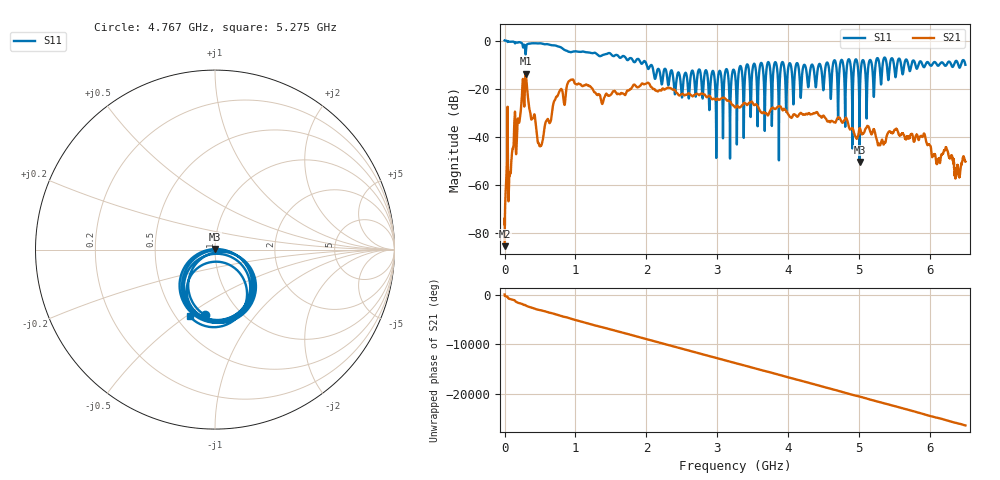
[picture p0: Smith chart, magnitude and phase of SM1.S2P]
!Keysight Technologies,E5063A,MY54503115,A.05.08
!Date: Sat Feb 03 20:37:37 2024
!Data & Calibration Information:
!Freq	S11:NONE(--)	S21:NONE(--)	S12:NONE(--)	S22:NONE(--)
# Hz S dB R 50
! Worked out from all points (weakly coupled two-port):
!   10001 points, 100 kHz to 6.5 GHz, reference 50 ohm
!   highest |S21| = -13.74 dB at 297.1 MHz (marker M1); lowest = -85.5 dB at 100 kHz (marker M2)
!   lowest |S11| = -50.5 dB at 5.006 GHz (marker M3), VSWR 1.01, Z = 50 + j0.298 ohm
!   |S11| at or under -10 dB: 2.002 GHz to 3.418 GHz (1.416 GHz wide, 52.2 % of centre); 4.139 GHz to 4.334 GHz (195.5 MHz wide, 4.61 % of centre); 4.34 GHz to 4.433 GHz (93.65 MHz wide, 2.13 % of centre) (the widest 3 of 31)
!   S12 and S22 are empty: the file has one direction only
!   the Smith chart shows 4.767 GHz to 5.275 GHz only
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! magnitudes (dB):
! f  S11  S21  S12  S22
! 100 kHz  0.0  -85.5  -  -
! 122.3 MHz  -0.4  -44.1  -  -
! 297.1 MHz  -5.5  -13.7  -  -
! 501.2 MHz  -1.1  -44.0  -  -
! 775.5 MHz  -2.6  -21.0  -  -
! 1.084 GHz  -4.7  -18.7  -  -
! 2.167 GHz  -11.8  -21.1  -  -
! 3.25 GHz  -14.0  -27.8  -  -
! 4.334 GHz  -10.0  -30.6  -  -
! 4.705 GHz  -32.1  -31.9  -  -
! 4.755 GHz  -8.0  -33.8  -  -
! 4.805 GHz  -35.9  -32.5  -  -
! 4.856 GHz  -7.8  -35.9  -  -
! 4.907 GHz  -44.7  -36.4  -  -
! 4.957 GHz  -7.8  -40.4  -  -
! 5.006 GHz  -50.5  -36.5  -  -
! 5.055 GHz  -8.1  -38.8  -  -
! 5.104 GHz  -26.8  -36.3  -  -
! 5.417 GHz  -15.8  -38.1  -  -
! 5.906 GHz  -10.8  -39.4  -  -
! 6.387 GHz  -9.0  -51.8  -  -
! 6.5 GHz  -10.1  -50.4  -  -
